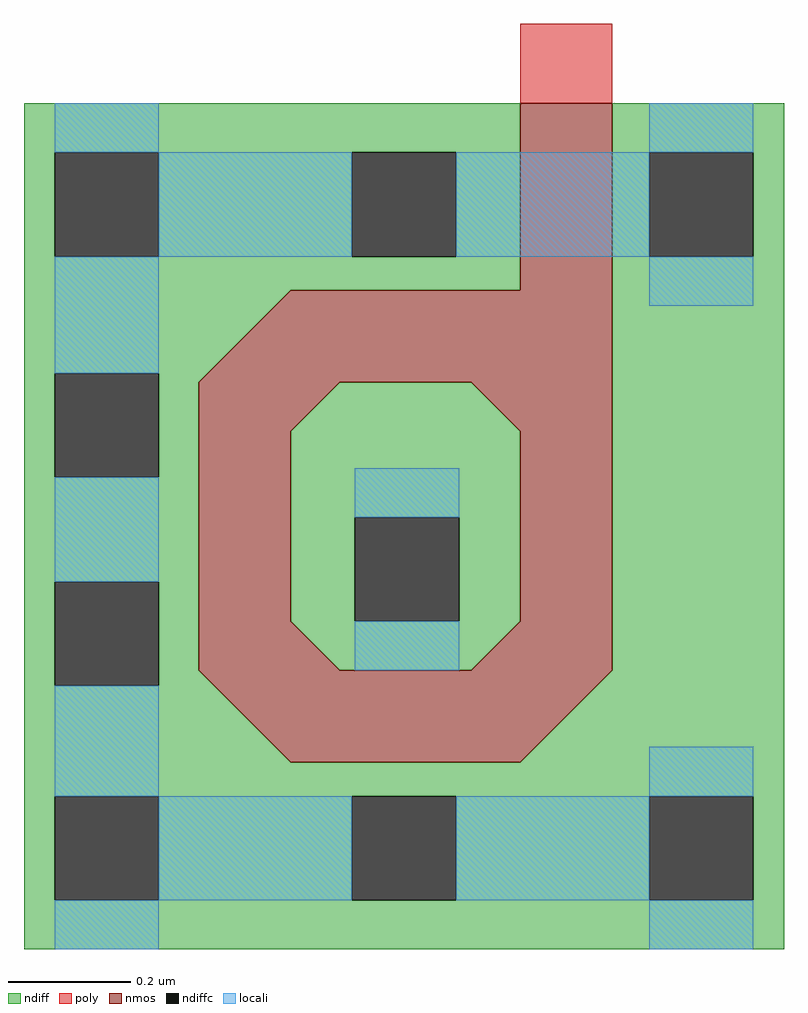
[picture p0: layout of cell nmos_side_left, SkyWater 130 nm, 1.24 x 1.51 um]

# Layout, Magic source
magic
tech sky130
magscale 1 2
<< nmos >>
rect 162 215 192 276
tri 57 185 87 215 se
rect 87 185 192 215
rect 57 91 87 185
tri 87 169 103 185 nw
tri 146 169 162 185 ne
tri 87 91 103 107 sw
tri 146 91 162 107 se
rect 162 91 192 185
tri 57 61 87 91 ne
rect 87 61 162 91
tri 162 61 192 91 nw
<< ndiff >>
rect 0 260 162 276
rect 0 226 10 260
rect 44 226 107 260
rect 141 226 162 260
rect 0 215 162 226
rect 192 260 248 276
rect 192 226 204 260
rect 238 226 248 260
rect 0 188 57 215
rect 0 154 10 188
rect 44 154 57 188
tri 57 185 87 215 nw
rect 0 120 57 154
rect 0 86 10 120
rect 44 86 57 120
tri 87 169 103 185 se
rect 103 169 146 185
tri 146 169 162 185 sw
rect 87 141 162 169
rect 87 107 108 141
rect 142 107 162 141
tri 87 91 103 107 ne
rect 103 91 146 107
tri 146 91 162 107 nw
rect 0 61 57 86
tri 57 61 87 91 sw
tri 162 61 192 91 se
rect 192 61 248 226
rect 0 50 248 61
rect 0 16 10 50
rect 44 16 107 50
rect 141 16 204 50
rect 238 16 248 50
rect 0 0 248 16
<< ndiffc >>
rect 10 226 44 260
rect 107 226 141 260
rect 204 226 238 260
rect 10 154 44 188
rect 10 86 44 120
rect 108 107 142 141
rect 10 16 44 50
rect 107 16 141 50
rect 204 16 238 50
<< poly >>
rect 162 276 192 302
<< locali >>
rect 10 260 44 276
rect 204 260 238 276
rect 44 226 107 260
rect 141 226 204 260
rect 10 188 44 226
rect 204 210 238 226
rect 10 120 44 154
rect 108 141 142 157
rect 108 91 142 107
rect 10 50 44 86
rect 204 50 238 66
rect 44 16 107 50
rect 141 16 204 50
rect 10 0 44 16
rect 204 0 238 16
<< end >>
